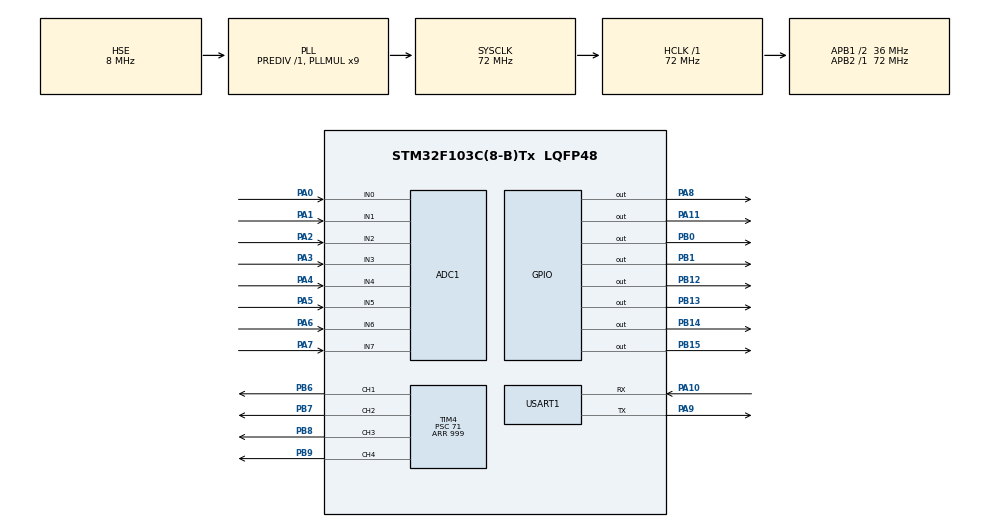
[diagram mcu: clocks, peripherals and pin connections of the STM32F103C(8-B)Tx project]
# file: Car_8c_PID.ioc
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ADC1.Channel-1\#ChannelRegularConversion=ADC_CHANNEL_0
ADC1.Channel-2\#ChannelRegularConversion=ADC_CHANNEL_0
ADC1.Channel-3\#ChannelRegularConversion=ADC_CHANNEL_0
ADC1.Channel-4\#ChannelRegularConversion=ADC_CHANNEL_0
ADC1.Channel-5\#ChannelRegularConversion=ADC_CHANNEL_0
ADC1.Channel-6\#ChannelRegularConversion=ADC_CHANNEL_0
ADC1.Channel-7\#ChannelRegularConversion=ADC_CHANNEL_0
ADC1.Channel-8\#ChannelRegularConversion=ADC_CHANNEL_0
ADC1.ContinuousConvMode=ENABLE
ADC1.DataAlign=ADC_DATAALIGN_RIGHT
ADC1.NbrOfConversion=8
ADC1.NbrOfConversionFlag=1
ADC1.Rank-1\#ChannelRegularConversion=1
ADC1.Rank-2\#ChannelRegularConversion=2
ADC1.Rank-3\#ChannelRegularConversion=3
ADC1.Rank-4\#ChannelRegularConversion=4
ADC1.Rank-5\#ChannelRegularConversion=5
ADC1.Rank-6\#ChannelRegularConversion=6
ADC1.Rank-7\#ChannelRegularConversion=7
ADC1.Rank-8\#ChannelRegularConversion=8
ADC1.SamplingTime-1\#ChannelRegularConversion=ADC_SAMPLETIME_1CYCLE_5
ADC1.SamplingTime-2\#ChannelRegularConversion=ADC_SAMPLETIME_1CYCLE_5
ADC1.SamplingTime-3\#ChannelRegularConversion=ADC_SAMPLETIME_1CYCLE_5
ADC1.SamplingTime-4\#ChannelRegularConversion=ADC_SAMPLETIME_1CYCLE_5
ADC1.SamplingTime-5\#ChannelRegularConversion=ADC_SAMPLETIME_1CYCLE_5
ADC1.SamplingTime-6\#ChannelRegularConversion=ADC_SAMPLETIME_1CYCLE_5
ADC1.SamplingTime-7\#ChannelRegularConversion=ADC_SAMPLETIME_1CYCLE_5
ADC1.SamplingTime-8\#ChannelRegularConversion=ADC_SAMPLETIME_1CYCLE_5
ADC1.master=1
Dma.ADC1.0.Direction=DMA_PERIPH_TO_MEMORY
Dma.ADC1.0.Instance=DMA1_Channel1
Dma.ADC1.0.MemDataAlignment=DMA_MDATAALIGN_WORD
Dma.ADC1.0.MemInc=DMA_MINC_ENABLE
Dma.ADC1.0.Mode=DMA_CIRCULAR
Dma.ADC1.0.PeriphDataAlignment=DMA_PDATAALIGN_WORD
Dma.ADC1.0.PeriphInc=DMA_PINC_DISABLE
Dma.ADC1.0.Priority=DMA_PRIORITY_LOW
Dma.Request0=ADC1
Mcu.Family=STM32F1
Mcu.Name=STM32F103C(8-B)Tx
Mcu.Package=LQFP48
NVIC.DMA1_Channel1_IRQn=true\:0\:0\:false\:false\:true\:false\:true\:true
NVIC.PriorityGroup=NVIC_PRIORITYGROUP_4
PA0-WKUP.Signal=ADCx_IN0
PA1.Signal=ADCx_IN1
PA10.Mode=Asynchronous
PA10.Signal=USART1_RX
PA11.Signal=GPIO_Output
PA13.Mode=Serial_Wire
PA13.Signal=SYS_JTMS-SWDIO
PA14.Mode=Serial_Wire
PA14.Signal=SYS_JTCK-SWCLK
PA2.Signal=ADCx_IN2
PA3.Signal=ADCx_IN3
PA4.Signal=ADCx_IN4
PA5.Signal=ADCx_IN5
PA6.Signal=ADCx_IN6
PA7.Signal=ADCx_IN7
PA8.Signal=GPIO_Output
PA9.Mode=Asynchronous
PA9.Signal=USART1_TX
PB0.Signal=GPIO_Output
PB1.Signal=GPIO_Output
PB12.Signal=GPIO_Output
PB13.Signal=GPIO_Output
PB14.Signal=GPIO_Output
PB15.Signal=GPIO_Output
PB6.Signal=S_TIM4_CH1
PB7.Signal=S_TIM4_CH2
PB8.Signal=S_TIM4_CH3
PB9.Signal=S_TIM4_CH4
PD0-OSC_IN.Mode=HSE-External-Oscillator
PD0-OSC_IN.Signal=RCC_OSC_IN
PD1-OSC_OUT.Mode=HSE-External-Oscillator
PD1-OSC_OUT.Signal=RCC_OSC_OUT
ProjectManager.HeapSize=0x200
ProjectManager.StackSize=0x400
ProjectManager.TargetToolchain=MDK-ARM V5.32
RCC.ADCPresc=RCC_ADCPCLK2_DIV6
RCC.AHBFreq_Value=72000000
RCC.APB1CLKDivider=RCC_HCLK_DIV2
RCC.APB1Freq_Value=36000000
RCC.APB1TimFreq_Value=72000000
RCC.APB2Freq_Value=72000000
RCC.APB2TimFreq_Value=72000000
RCC.HCLKFreq_Value=72000000
RCC.PLLMUL=RCC_PLL_MUL9
RCC.PLLSourceVirtual=RCC_PLLSOURCE_HSE
RCC.SYSCLKFreq_VALUE=72000000
RCC.SYSCLKSource=RCC_SYSCLKSOURCE_PLLCLK
RCC.USBFreq_Value=72000000
SH.ADCx_IN0.0=ADC1_IN0,IN0
SH.ADCx_IN1.0=ADC1_IN1,IN1
SH.ADCx_IN2.0=ADC1_IN2,IN2
SH.ADCx_IN3.0=ADC1_IN3,IN3
SH.ADCx_IN4.0=ADC1_IN4,IN4
SH.ADCx_IN5.0=ADC1_IN5,IN5
SH.ADCx_IN6.0=ADC1_IN6,IN6
SH.ADCx_IN7.0=ADC1_IN7,IN7
SH.S_TIM4_CH1.0=TIM4_CH1,PWM Generation1 CH1
SH.S_TIM4_CH2.0=TIM4_CH2,PWM Generation2 CH2
SH.S_TIM4_CH3.0=TIM4_CH3,PWM Generation3 CH3
SH.S_TIM4_CH4.0=TIM4_CH4,PWM Generation4 CH4
TIM4.Channel-PWM\ Generation1\ CH1=TIM_CHANNEL_1
TIM4.Channel-PWM\ Generation2\ CH2=TIM_CHANNEL_2
TIM4.Channel-PWM\ Generation3\ CH3=TIM_CHANNEL_3
TIM4.Channel-PWM\ Generation4\ CH4=TIM_CHANNEL_4
TIM4.Period=999
TIM4.Prescaler=71
USART1.VirtualMode=VM_ASYNC
VP_TIM4_VS_ClockSourceINT.Mode=Internal
board=custom

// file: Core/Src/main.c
/* USER CODE BEGIN Header */
/**
  ******************************************************************************
  * @file           : main.c
  * @brief          : 8路红外灰度循迹小车 - FSM + PID 主程序
  * @note           : 接线校准程序已移至 main_test.c，此文件为正式运行文件。
  ******************************************************************************
  */
/* USER CODE END Header */
#include "main.h"
#include "adc.h"
#include "dma.h"
#include "tim.h"
#include "usart.h" // 确保 CubeMX 生成了 usart.h
#include "gpio.h"

/* USER CODE BEGIN Includes */
#include "strategy.h" // [!!] 必须包含，因为 set_motor_speed 在此文件中声明了
#include <stdio.h>
/* USER CODE END Includes */

extern ADC_HandleTypeDef hadc1;      // <--- 已修正
extern DMA_HandleTypeDef hdma_adc1; // <--- 已修正
extern TIM_HandleTypeDef htim4;   // <--- 已修正
extern UART_HandleTypeDef huart1; // <--- 已修正

/* USER CODE BEGIN PV */
// --- [!!] 全局变量 [!!] ---
// ADC DMA 缓冲区 (必须在此处定义，供 strategy.c 外部访问)
uint32_t g_adc_values[8];
/* USER CODE END PV */

void SystemClock_Config(void);
/* USER CODE BEGIN PFP */

void set_motor_speed(int motorID, int32_t speed);
void set_left_speed(int32_t speed);
void set_right_speed(int32_t speed);

/* USER CODE END PFP */

/* USER CODE BEGIN 0 */
// [!!] 重定向 printf (虽然本程序没用，但保留)
int fputc(int ch, FILE *f)
{
  HAL_UART_Transmit(&huart1, (uint8_t *)&ch, 1, 0xFFFF);
  return ch;
}
/* USER CODE END 0 */

int main(void)
{

  /* MCU Configuration--------------------------------------------------------*/
  HAL_Init();

  /* Configure the system clock */
  SystemClock_Config();

  /* Initialize all configured peripherals */
  MX_GPIO_Init();
  MX_DMA_Init();
  MX_ADC1_Init();
  MX_TIM4_Init();
  MX_USART1_UART_Init();
  /* USER CODE BEGIN 2 */
  // --- [!!] 您的初始化代码从这里开始 [!!] ---

  // 启动 4 个 PWM 通道
  HAL_TIM_PWM_Start(&htim4, TIM_CHANNEL_1);
  HAL_TIM_PWM_Start(&htim4, TIM_CHANNEL_2);
  HAL_TIM_PWM_Start(&htim4, TIM_CHANNEL_3);
  HAL_TIM_PWM_Start(&htim4, TIM_CHANNEL_4);

  // 启动 ADC DMA (连续采集 8 路传感器)
  HAL_ADC_Start_DMA(&hadc1, g_adc_values, 8);

  // 初始化 FSM 策略层
  Strategy_Init();

  // --- [!!] 您的初始化代码在这里结束 [!!] ---
  /* USER CODE END 2 */

  /* Infinite loop */
  while (1)
  {

    /* USER CODE BEGIN 3 */
    // 执行 FSM 策略层主循环（感知 -> 状态判断 -> 电机输出）
    Strategy_Run_Main_Loop();
    // --- [!!] 循环代码结束 [!!] ---
  }
  /* USER CODE END 3 */
}

void SystemClock_Config(void)
{
  RCC_OscInitTypeDef RCC_OscInitStruct = {0};
  RCC_ClkInitTypeDef RCC_ClkInitStruct = {0};
  RCC_PeriphCLKInitTypeDef PeriphClkInit = {0};

  /** Initializes the RCC Oscillators according to the specified parameters
  * in the RCC_OscInitTypeDef structure.
  */
  RCC_OscInitStruct.OscillatorType = RCC_OSCILLATORTYPE_HSE;
  RCC_OscInitStruct.HSEState = RCC_HSE_ON;
  RCC_OscInitStruct.HSEPredivValue = RCC_HSE_PREDIV_DIV1;
  RCC_OscInitStruct.HSIState = RCC_HSI_ON;
  RCC_OscInitStruct.PLL.PLLState = RCC_PLL_ON;
  RCC_OscInitStruct.PLL.PLLSource = RCC_PLLSOURCE_HSE;
  RCC_OscInitStruct.PLL.PLLMUL = RCC_PLL_MUL9;
  if (HAL_RCC_OscConfig(&RCC_OscInitStruct) != HAL_OK)
  {
    Error_Handler();
  }

  /** Initializes the CPU, AHB and APB buses clocks
  */
  RCC_ClkInitStruct.ClockType = RCC_CLOCKTYPE_HCLK|RCC_CLOCKTYPE_SYSCLK
                              |RCC_CLOCKTYPE_PCLK1|RCC_CLOCKTYPE_PCLK2;
  RCC_ClkInitStruct.SYSCLKSource = RCC_SYSCLKSOURCE_PLLCLK;
  RCC_ClkInitStruct.AHBCLKDivider = RCC_SYSCLK_DIV1;
  RCC_ClkInitStruct.APB1CLKDivider = RCC_HCLK_DIV2;
  RCC_ClkInitStruct.APB2CLKDivider = RCC_HCLK_DIV1;

  if (HAL_RCC_ClockConfig(&RCC_ClkInitStruct, FLASH_LATENCY_2) != HAL_OK)
  {
    Error_Handler();
  }
  PeriphClkInit.PeriphClockSelection = RCC_PERIPHCLK_ADC;
  PeriphClkInit.AdcClockSelection = RCC_ADCPCLK2_DIV6;
  if (HAL_RCCEx_PeriphCLKConfig(&PeriphClkInit) != HAL_OK)
  {
    Error_Handler();
  }
}

/* USER CODE BEGIN 4 */
// --- [!!] 您的所有自定义函数从这里开始 [!!] ---
// [!!] 我们必须保留这些函数，因为 while(1) 正在调用它们 [!!]

/**
 * @brief  单独控制一个电机 (核心函数) [已升级]
 * @note   此函数供 strategy.c 调用 (必须放在 main.c)
 */
void set_motor_speed(int motorID, int32_t speed)
{
    uint32_t channel;
    GPIO_TypeDef* port1;
    uint16_t pin1;
    GPIO_TypeDef* port2;
    uint16_t pin2;
    TIM_HandleTypeDef* htim = &htim4;

    switch (motorID) {
        case 1: // M1 - 左前
            channel = TIM_CHANNEL_1; // PB6
            port1 = GPIOB; pin1 = GPIO_PIN_12; // IN1
            port2 = GPIOB; pin2 = GPIO_PIN_13; // IN2
            break;
        case 2: // M2 - 右前
            channel = TIM_CHANNEL_2; // PB7
            port1 = GPIOB; pin1 = GPIO_PIN_14; // IN3
            port2 = GPIOB; pin2 = GPIO_PIN_15; // IN4
            break;
        case 3: // M3 - 左后
            channel = TIM_CHANNEL_3; // PB8
            port1 = GPIOB; pin1 = GPIO_PIN_0;  // IN1 (L298N-2)
            port2 = GPIOB; pin2 = GPIO_PIN_1;  // IN2 (L298N-2)
            break;
        case 4: // M4 - 右后
            channel = TIM_CHANNEL_4; // PB9
            port1 = GPIOA; pin1 = GPIO_PIN_8;  // [修改] IN3 (L298N-2)
            port2 = GPIOA; pin2 = GPIO_PIN_11; // [修改] IN4 (L298N-2)
            break;
        default:
            return;
    }

    if (speed > 999) speed = 999;
    if (speed < -999) speed = -999;

    if (speed >= 0) { // 前进
        HAL_GPIO_WritePin(port1, pin1, GPIO_PIN_SET);
        HAL_GPIO_WritePin(port2, pin2, GPIO_PIN_RESET);
        __HAL_TIM_SET_COMPARE(htim, channel, speed);
    } else { // 后退
        HAL_GPIO_WritePin(port1, pin1, GPIO_PIN_RESET);
        HAL_GPIO_WritePin(port2, pin2, GPIO_PIN_SET);
        __HAL_TIM_SET_COMPARE(htim, channel, -speed);
    }
}

/**
 * @brief  设置小车左侧整体速度 (供 strategy.c 调用)
 */
void set_left_speed(int32_t speed)
{
    if (speed > 999) speed = 999;
    if (speed < -999) speed = -999;
    set_motor_speed(1, speed); // 左前
    set_motor_speed(3, speed); // 左后
}

/**
 * @brief  设置小车右侧整体速度 (供 strategy.c 调用)
 */
void set_right_speed(int32_t speed)
{
    if (speed > 999) speed = 999;
    if (speed < -999) speed = -999;
    set_motor_speed(2, speed); // 右前
    set_motor_speed(4, speed); // 右后
}

// --- [!!] 您的所有自定义函数在这里结束 [!!] ---
/* USER CODE END 4 */

void Error_Handler(void)
{
  __disable_irq();
  while (1)
  {
  }
}
